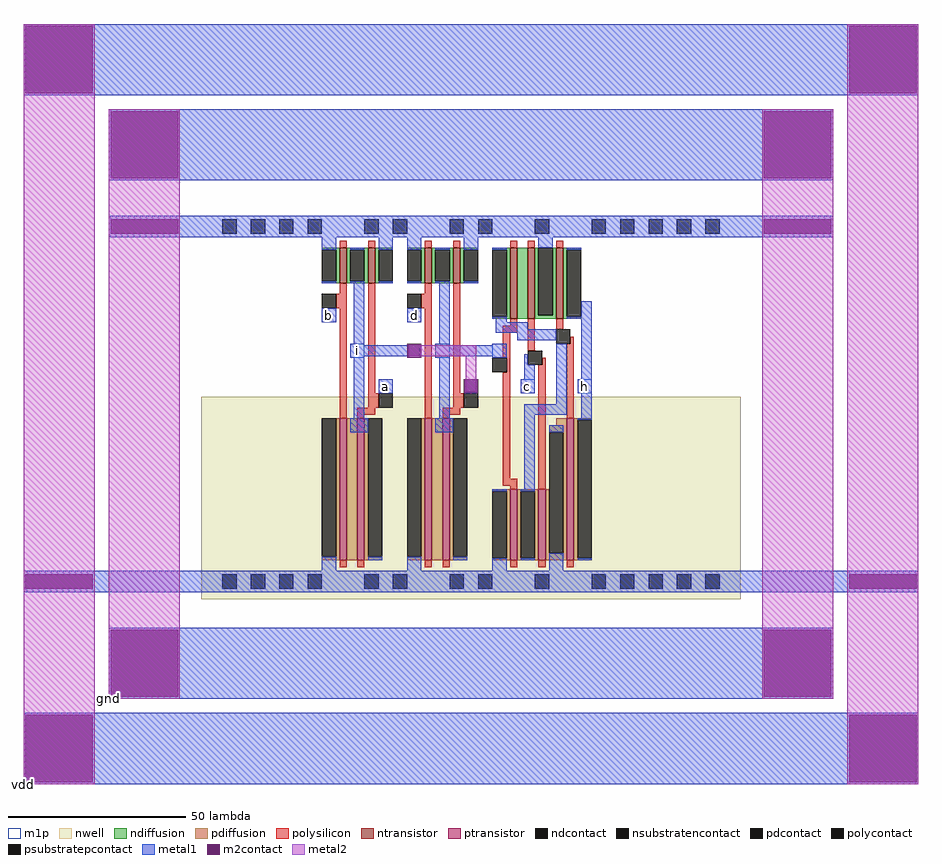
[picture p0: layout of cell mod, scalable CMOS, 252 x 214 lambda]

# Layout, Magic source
magic
tech scmos
magscale 1 2
<< metal1 >>
rect 28 414 532 454
rect 76 366 484 406
rect 76 334 484 346
rect 216 267 251 273
rect 264 267 296 273
rect 28 134 532 146
rect 76 74 484 114
rect 28 26 532 66
<< metal2 >>
rect 28 26 68 454
rect 76 74 116 406
rect 245 267 283 273
rect 277 247 283 267
rect 444 74 484 406
rect 492 26 532 454
use AND2X2  AND2X2_0
transform 1 0 288 0 -1 340
box -16 -6 80 210
use FILL  FILL_0
transform 1 0 400 0 -1 340
box -16 -6 32 210
use FILL  FILL_1
transform 1 0 384 0 -1 340
box -16 -6 32 210
use FILL  FILL_2
transform 1 0 368 0 -1 340
box -16 -6 32 210
use FILL  FILL_3
transform 1 0 352 0 -1 340
box -16 -6 32 210
use FILL  FILL_4
transform 1 0 176 0 -1 340
box -16 -6 32 210
use FILL  FILL_5
transform 1 0 160 0 -1 340
box -16 -6 32 210
use FILL  FILL_6
transform 1 0 144 0 -1 340
box -16 -6 32 210
use M2_M1  M2_M1_0
transform 1 0 280 0 1 250
box -4 -4 4 4
use M2_M1  M2_M1_1
transform 1 0 248 0 1 270
box -4 -4 4 4
use mod_VIA0  mod_VIA0_0
transform 1 0 512 0 1 434
box -20 -20 20 20
use mod_VIA0  mod_VIA0_1
transform 1 0 512 0 1 46
box -20 -20 20 20
use mod_VIA0  mod_VIA0_2
transform 1 0 48 0 1 434
box -20 -20 20 20
use mod_VIA0  mod_VIA0_3
transform 1 0 48 0 1 46
box -20 -20 20 20
use mod_VIA0  mod_VIA0_4
transform 1 0 464 0 1 386
box -20 -20 20 20
use mod_VIA0  mod_VIA0_5
transform 1 0 464 0 1 94
box -20 -20 20 20
use mod_VIA0  mod_VIA0_6
transform 1 0 96 0 1 386
box -20 -20 20 20
use mod_VIA0  mod_VIA0_7
transform 1 0 96 0 1 94
box -20 -20 20 20
use mod_VIA1  mod_VIA1_0
transform 1 0 512 0 1 140
box -20 -6 20 6
use mod_VIA1  mod_VIA1_1
transform 1 0 48 0 1 140
box -20 -6 20 6
use mod_VIA1  mod_VIA1_2
transform 1 0 96 0 1 340
box -20 -6 20 6
use mod_VIA1  mod_VIA1_3
transform 1 0 464 0 1 340
box -20 -6 20 6
use NOR2X1  NOR2X1_0
transform 1 0 192 0 -1 340
box -16 -6 64 210
use NOR2X1  NOR2X1_1
transform 1 0 240 0 -1 340
box -16 -6 64 210
<< labels >>
rlabel electrodecontact s 232 250 232 250 4 a
rlabel electrodecontact s 200 290 200 290 4 b
rlabel electrodecontact s 312 250 312 250 4 c
rlabel electrodecontact s 248 290 248 290 4 d
rlabel electrodecontact s 344 250 344 250 4 h
rlabel metal1 216 270 216 270 4 i
rlabel metal2 76 74 76 74 4 gnd
rlabel metal2 28 26 28 26 4 vdd
<< properties >>
string path 1188.000 1215.000 1332.000 1215.000 
<< end >>

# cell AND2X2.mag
magic
tech scmos
magscale 1 2
<< nwell >>
rect -16 96 80 210
<< ntransistor >>
rect 14 12 18 52
rect 24 12 28 52
rect 40 12 44 52
<< ptransistor >>
rect 14 148 18 188
rect 30 148 34 188
rect 46 108 50 188
<< ndiffusion >>
rect 4 51 14 52
rect 12 13 14 51
rect 4 12 14 13
rect 18 12 24 52
rect 28 50 40 52
rect 28 12 30 50
rect 38 12 40 50
rect 44 51 54 52
rect 44 13 46 51
rect 44 12 54 13
<< pdiffusion >>
rect 4 187 14 188
rect 12 149 14 187
rect 4 148 14 149
rect 18 187 30 188
rect 18 149 20 187
rect 28 149 30 187
rect 18 148 30 149
rect 34 184 46 188
rect 34 148 36 184
rect 44 116 46 184
rect 36 112 46 116
rect 40 108 46 112
rect 50 187 60 188
rect 50 109 52 187
rect 50 108 60 109
<< ndcontact >>
rect 4 13 12 51
rect 30 12 38 50
rect 46 13 54 51
<< pdcontact >>
rect 4 149 12 187
rect 20 149 28 187
rect 36 116 44 184
rect 52 109 60 187
<< psubstratepcontact >>
rect -4 -4 4 4
rect 28 -4 36 4
<< nsubstratencontact >>
rect -4 196 4 204
rect 28 196 36 204
<< polysilicon >>
rect 14 188 18 192
rect 30 188 34 192
rect 46 188 50 192
rect 14 146 18 148
rect 10 142 18 146
rect 10 82 14 142
rect 12 74 14 82
rect 30 78 34 148
rect 10 60 14 74
rect 32 74 34 78
rect 10 56 18 60
rect 14 52 18 56
rect 24 52 28 70
rect 46 66 50 108
rect 48 62 50 66
rect 40 52 44 58
rect 14 8 18 12
rect 24 8 28 12
rect 40 8 44 12
<< polycontact >>
rect 4 74 12 82
rect 24 70 32 78
rect 40 58 48 66
<< metal1 >>
rect -4 204 68 206
rect 4 196 28 204
rect 36 196 68 204
rect -4 194 68 196
rect 4 187 12 194
rect 4 148 12 149
rect 20 187 28 188
rect 20 148 28 149
rect 22 106 28 148
rect 36 184 44 194
rect 36 112 44 116
rect 52 187 60 188
rect 52 108 60 109
rect 22 100 46 106
rect 20 86 28 94
rect 4 66 12 74
rect 22 78 28 86
rect 22 72 24 78
rect 40 66 46 100
rect 54 94 60 108
rect 52 86 60 94
rect 18 60 40 64
rect 6 58 40 60
rect 6 54 24 58
rect 6 52 12 54
rect 54 52 60 86
rect 4 51 12 52
rect 46 51 60 52
rect 4 12 12 13
rect 54 42 60 51
rect 46 12 54 13
rect 30 6 38 12
rect -4 4 68 6
rect 4 -4 28 4
rect 36 -4 68 4
rect -4 -6 68 -4
<< m1p >>
rect 20 86 28 94
rect 52 86 60 94
rect 4 66 12 74
<< labels >>
rlabel metal1 8 200 8 200 4 vdd
rlabel metal1 8 0 8 0 4 gnd
rlabel metal1 8 70 8 70 4 A
rlabel metal1 24 90 24 90 4 B
rlabel metal1 56 90 56 90 4 Y
<< end >>

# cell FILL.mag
magic
tech scmos
<< nwell >>
rect -8 48 16 105
<< psubstratepcontact >>
rect -2 -2 2 2
rect 6 -2 10 2
<< nsubstratencontact >>
rect -2 98 2 102
rect 6 98 10 102
<< metal1 >>
rect -2 102 10 103
rect 2 98 6 102
rect -2 97 10 98
rect -2 2 10 3
rect 2 -2 6 2
rect -2 -3 10 -2
<< labels >>
rlabel metal1 4 100 4 100 4 vdd
rlabel metal1 4 0 4 0 4 gnd
<< end >>

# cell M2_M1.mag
magic
tech scmos
<< m2contact >>
rect -2 -2 2 2
<< end >>

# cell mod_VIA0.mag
magic
tech scmos
magscale 1 2
<< metal1 >>
rect -20 19 20 20
rect -20 -19 -19 19
rect 19 -19 20 19
rect -20 -20 20 -19
<< m2contact >>
rect -19 -19 19 19
<< metal2 >>
rect -20 19 20 20
rect -20 -19 -19 19
rect 19 -19 20 19
rect -20 -20 20 -19
<< end >>

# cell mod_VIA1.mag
magic
tech scmos
magscale 1 2
<< metal1 >>
rect -20 4 20 6
rect -20 -4 -19 4
rect 19 -4 20 4
rect -20 -6 20 -4
<< m2contact >>
rect -19 -4 19 4
<< metal2 >>
rect -20 4 20 6
rect -20 -4 -19 4
rect 19 -4 20 4
rect -20 -6 20 -4
<< end >>

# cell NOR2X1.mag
magic
tech scmos
magscale 1 2
<< nwell >>
rect -16 96 64 210
<< ntransistor >>
rect 14 12 18 32
rect 30 12 34 32
<< ptransistor >>
rect 14 108 18 188
rect 24 108 28 188
<< ndiffusion >>
rect 4 31 14 32
rect 12 13 14 31
rect 4 12 14 13
rect 18 31 30 32
rect 18 13 20 31
rect 28 13 30 31
rect 18 12 30 13
rect 34 31 44 32
rect 34 13 36 31
rect 34 12 44 13
<< pdiffusion >>
rect 4 186 14 188
rect 12 108 14 186
rect 18 108 24 188
rect 28 186 38 188
rect 28 108 30 186
<< ndcontact >>
rect 4 13 12 31
rect 20 13 28 31
rect 36 13 44 31
<< pdcontact >>
rect 4 108 12 186
rect 30 108 38 186
<< psubstratepcontact >>
rect -4 -4 4 4
rect 28 -4 36 4
<< nsubstratencontact >>
rect -4 196 4 204
rect 28 196 36 204
<< polysilicon >>
rect 14 188 18 192
rect 24 188 28 192
rect 14 46 18 108
rect 24 106 28 108
rect 24 102 34 106
rect 12 38 18 46
rect 14 32 18 38
rect 30 94 36 102
rect 30 32 34 94
rect 14 8 18 12
rect 30 8 34 12
<< polycontact >>
rect 4 38 12 46
rect 36 94 44 102
<< metal1 >>
rect -4 204 52 206
rect 4 196 28 204
rect 36 196 52 204
rect -4 194 52 196
rect 4 186 12 194
rect 30 186 38 188
rect 20 108 30 116
rect 22 74 28 108
rect 36 86 44 94
rect 20 66 28 74
rect 4 46 12 54
rect 22 32 28 66
rect 4 31 12 32
rect 4 6 12 13
rect 20 31 28 32
rect 20 12 28 13
rect 36 31 44 32
rect 36 6 44 13
rect -4 4 52 6
rect 4 -4 28 4
rect 36 -4 52 4
rect -4 -6 52 -4
<< m1p >>
rect 36 86 44 94
rect 20 66 28 74
rect 4 46 12 54
<< labels >>
rlabel metal1 8 200 8 200 4 vdd
rlabel metal1 40 90 40 90 4 B
rlabel metal1 8 0 8 0 4 gnd
rlabel metal1 24 70 24 70 4 Y
rlabel metal1 8 50 8 50 4 A
<< end >>
